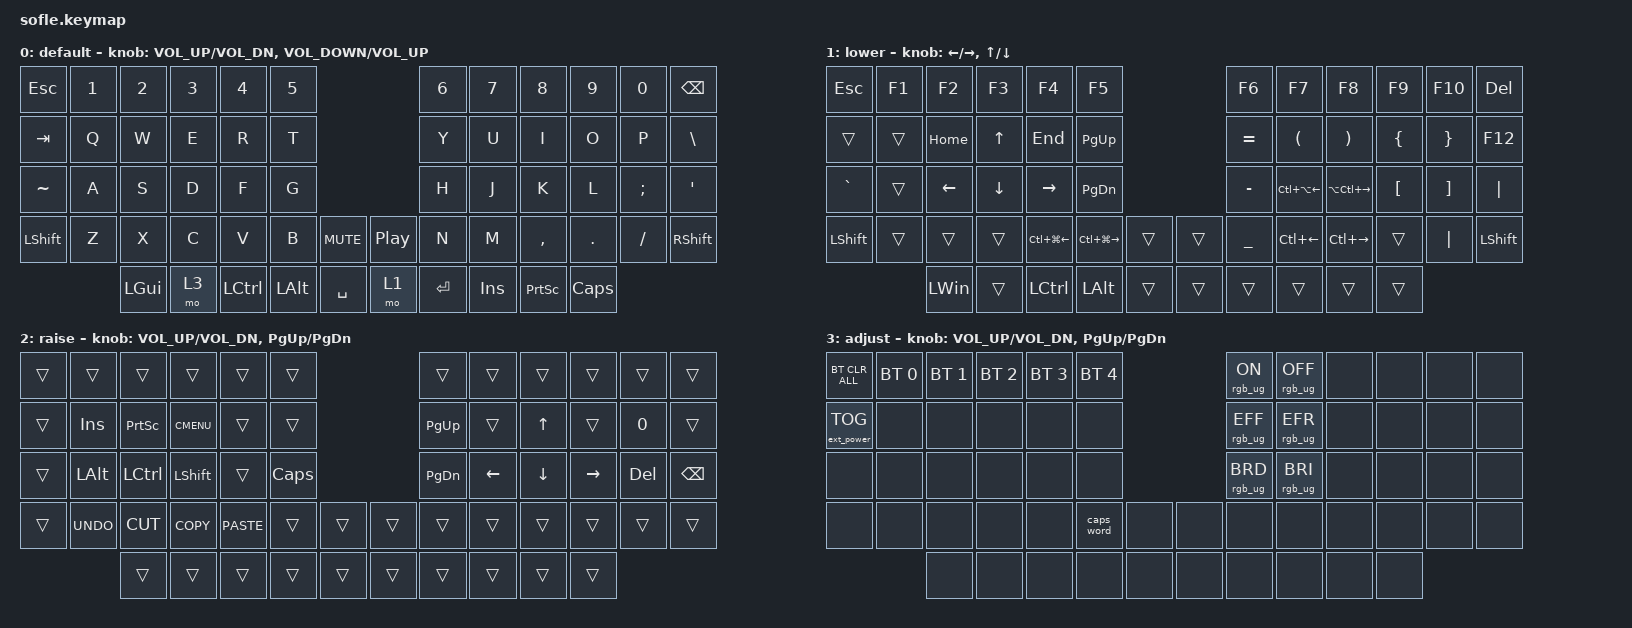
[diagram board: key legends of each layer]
/*
 * Copyright (c) 2020 The ZMK Contributors
 *
 * SPDX-License-Identifier: MIT
 */

#include <behaviors.dtsi>
#include <dt-bindings/zmk/bt.h>
#include <dt-bindings/zmk/ext_power.h>
#include <dt-bindings/zmk/keys.h>
#include <dt-bindings/zmk/rgb.h>

#define BASE 0
#define LOWER 1
#define RAISE 2
#define ADJUST 3

/ {
    // Activate ADJUST layer by pressing raise and lower

    conditional_layers {
        compatible = "zmk,conditional-layers";

        adjust_layer {
            if-layers = <LOWER RAISE>;
            then-layer = <ADJUST>;
        };
    };

    combos { compatible = "zmk,combos"; };

    behaviors {
        caps: caps {
            compatible = "zmk,behavior-caps-word";
            label = "CAPS";
            #binding-cells = <0>;
            continue-list = <POUND MINUS BACKSPACE UNDERSCORE>;
        };
    };

    keymap {
        compatible = "zmk,keymap";

        default_layer {
            display-name = "default";

            // ------------------------------------------------------------------------------------------------------------
            // |   `   |  1  |  2  |  3   |  4   |  5   |                   |  6   |  7    |  8    |  9   |   0   |       |
            // |  ESC  |  Q  |  W  |  E   |  R   |  T   |                   |  Y   |  U    |  I    |  O   |   P   | BKSPC |
            // |  TAB  |  A  |  S  |  D   |  F   |  G   |                   |  H   |  J    |  K    |  L   |   ;   |   '   |
            // | SHIFT |  Z  |  X  |  C   |  V   |  B   |  MUTE  |  |       |  N   |  M    |  ,    |  .   |   /   | SHIFT |
            //               | GUI | ALT  | CTRL | LOWER|  ENTER |  | SPACE | RAISE| CTRL  | ALT   | GUI  |

            bindings = <
&kp ESCAPE      &kp N1  &kp N2    &kp N3  &kp N4     &kp N5                                        &kp N6     &kp N7      &kp N8           &kp N9        &kp N0    &kp BACKSPACE
&kp TAB         &kp Q   &kp W     &kp E   &kp R      &kp T                                         &kp Y      &kp U       &kp I            &kp O         &kp P     &kp BACKSLASH
&kp TILDE       &kp A   &kp S     &kp D   &kp F      &kp G                                         &kp H      &kp J       &kp K            &kp L         &kp SEMI  &kp SQT
&kp LEFT_SHIFT  &kp Z   &kp X     &kp C   &kp V      &kp B         &kp C_MUTE    &kp C_PLAY_PAUSE  &kp N      &kp M       &kp COMMA        &kp DOT       &kp FSLH  &kp RSHFT
                        &kp LGUI  &mo 3   &kp LCTRL  &kp LEFT_ALT  &kp SPACE     &mo 1             &kp ENTER  &kp INSERT  &kp PRINTSCREEN  &kp CAPSLOCK
            >;

            sensor-bindings =
                <&inc_dec_kp C_VOL_UP C_VOL_DN>,
                <&inc_dec_kp C_VOLUME_DOWN C_VOLUME_UP>;
        };

        lower_layer {
            display-name = "lower";

            // TODO: Some binds are waiting for shifted keycode support.
            // ------------------------------------------------------------------------------------------------------------
            // |       |  F1 |  F2 |  F3  |  F4  |  F5  |                   |  F6  |  F7   |  F8   |  F9  |  F10  |  F11  |
            // |   `   |  1  |  2  |  3   |  4   |  5   |                   |  6   |  7    |  8    |  9   |   0   |  F12  |
            // |       |  !  |  @  |  #   |  $   |  %   |                   |  ^   |  &    |  *    |  (   |   )   |   |   |
            // |       |  =  |  -  |  +   |  {   |  }   |        |  |       |  [   |  ]    |  ;    |  :   |   \   |       |
            //               |     |      |      |      |        |  |       |      |       |       |      |

            bindings = <
&kp ESCAPE      &kp F1  &kp F2          &kp F3          &kp F4                  &kp F5                                     &kp F6          &kp F7                  &kp F8                   &kp F9            &kp F10            &kp DELETE
&trans          &trans  &kp HOME        &kp UP_ARROW    &kp END                 &kp PAGE_UP                                &kp EQUAL       &kp LEFT_PARENTHESIS    &kp RIGHT_PARENTHESIS    &kp LEFT_BRACE    &kp RIGHT_BRACE    &kp F12
&kp GRAVE       &trans  &kp LEFT_ARROW  &kp DOWN_ARROW  &kp RIGHT_ARROW         &kp PAGE_DOWN                              &kp MINUS       &kp LC(LA(LEFT_ARROW))  &kp LA(LC(RIGHT_ARROW))  &kp LEFT_BRACKET  &kp RIGHT_BRACKET  &kp PIPE
&kp LEFT_SHIFT  &trans  &trans          &trans          &kp LC(LG(LEFT_ARROW))  &kp LC(LG(RIGHT_ARROW))  &trans    &trans  &kp UNDERSCORE  &kp LC(LEFT_ARROW)      &kp LC(RIGHT_ARROW)      &trans            &kp PIPE           &kp LEFT_SHIFT
                        &kp LEFT_WIN    &trans          &kp LCTRL               &kp LEFT_ALT             &trans    &trans  &trans          &trans                  &trans                   &trans
            >;

            sensor-bindings =
                <&inc_dec_kp LEFT_ARROW RIGHT_ARROW>,
                <&inc_dec_kp UP_ARROW DOWN_ARROW>;
        };

        raise_layer {
            display-name = "raise";

            // ------------------------------------------------------------------------------------------------------------
            // | BTCLR | BT1  | BT2  |  BT3  |  BT4  |  BT5 |                |      |      |       |      |       |       |
            // |       | INS  | PSCR | GUI   |       |      |                | PGUP |      |   ^   |      |       |       |
            // |       | ALT  | CTRL | SHIFT |       | CAPS |                | PGDN |   <- |   v   |  ->  |  DEL  | BKSPC |
            // |       | UNDO | CUT  | COPY  | PASTE |      |      |  |      |      |      |       |      |       |       |
            //                |      |       |       |      |      |  |      |      |      |       |      |

            bindings = <
&trans  &trans      &trans     &trans       &trans       &trans                      &trans     &trans    &trans    &trans     &trans   &trans
&trans  &kp INS     &kp PSCRN  &kp K_CMENU  &trans       &trans                      &kp PG_UP  &trans    &kp UP    &trans     &kp N0   &trans
&trans  &kp LALT    &kp LCTRL  &kp LSHFT    &trans       &kp CLCK                    &kp PG_DN  &kp LEFT  &kp DOWN  &kp RIGHT  &kp DEL  &kp BSPC
&trans  &kp K_UNDO  &kp K_CUT  &kp K_COPY   &kp K_PASTE  &trans    &trans    &trans  &trans     &trans    &trans    &trans     &trans   &trans
                    &trans     &trans       &trans       &trans    &trans    &trans  &trans     &trans    &trans    &trans
            >;

            sensor-bindings = <&inc_dec_kp C_VOL_UP C_VOL_DN &inc_dec_kp PG_UP PG_DN>;
        };

        adjust_layer {
            // ----------------------------------------------------------------------------------------------------------------------------
            // | BTCLR  |  BT1    |  BT2    |   BT3   |   BT4   |   BT5   |                  |      |      |       |      |       |       |
            // | EXTPWR | RGB_HUD | RGB_HUI | RGB_SAD | RGB_SAI | RGB_EFF |                  |      |      |       |      |       |       |
            // |        | RGB_BRD | RGB_BRI |         |         |         |                  |      |      |       |      |       |       |
            // |        |         |         |         |         |         | RGB_TOG | |      |      |      |       |      |       |       |
            //                    |         |         |         |         |         | |      |      |      |       |      |

            display-name = "adjust";
            bindings = <
&bt BT_CLR_ALL     &bt BT_SEL 0  &bt BT_SEL 1  &bt BT_SEL 2  &bt BT_SEL 3  &bt BT_SEL 4                  &rgb_ug RGB_ON   &rgb_ug RGB_OFF  &none  &none  &none  &none
&ext_power EP_TOG  &none         &none         &none         &none         &none                         &rgb_ug RGB_EFF  &rgb_ug RGB_EFR  &none  &none  &none  &none
&none              &none         &none         &none         &none         &none                         &rgb_ug RGB_BRD  &rgb_ug RGB_BRI  &none  &none  &none  &none
&none              &none         &none         &none         &none         &caps_word    &none    &none  &none            &none            &none  &none  &none  &none
                                 &none         &none         &none         &none         &none    &none  &none            &none            &none  &none
            >;

            sensor-bindings = <&inc_dec_kp C_VOL_UP C_VOL_DN &inc_dec_kp PG_UP PG_DN>;
        };
    };
};
